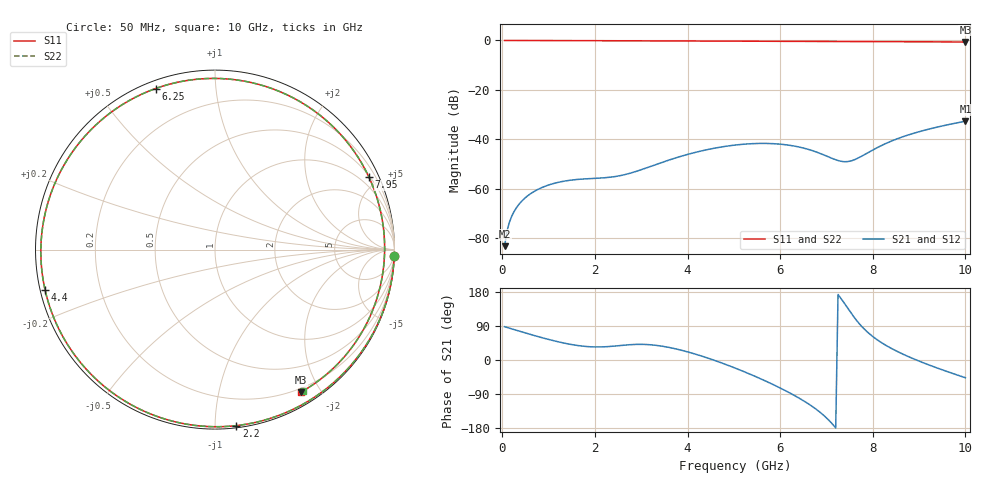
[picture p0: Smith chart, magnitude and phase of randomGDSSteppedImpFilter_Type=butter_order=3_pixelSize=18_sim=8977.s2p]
! freq	dB(S11)	phase(S11)	dB(S12)	phase(S12)
!  dB(S21)	phase(S21)	dB(S22)	phase(S22)
!S-par simulation data
#  GHz  S  DB  R 50
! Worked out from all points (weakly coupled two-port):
!   200 points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, 50 MHz to 10 GHz, reference 50 ohm
!   highest |S21| = -32.67 dB at 10 GHz (marker M1); lowest = -83.2 dB at 50 MHz (marker M2)
!   lowest |S11| = -0.7 dB at 10 GHz (marker M3), VSWR 26.54, Z = 7.76 - j88.1 ohm
!   |S11| at or under -10 dB: nowhere
!   |S22| runs from -0.7 to 0.0 dB; largest |S21 - S12| = 0
!   S11 on the Smith chart (normalised r, x): 50 MHz: 1, -58; 2.2 GHz: 0.01, -1.13; 4.4 GHz: 0.01, -0.12; 6.25 GHz: 0.03, +0.70; 7.95 GHz: 0.55, +4.40; 10 GHz: 0.16, -1.76
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0.05  -0.00 -2.0  -83.22 87.9  -83.22 87.9  -0.00 -2.0
0.15  -0.01 -5.8  -73.74 84.1  -73.74 84.1  -0.01 -5.8
0.25  -0.01 -9.6  -69.36 80.4  -69.36 80.4  -0.01 -9.6
0.55  -0.02 -21.1  -62.81 69.5  -62.81 69.5  -0.02 -21.1
1.05  -0.05 -40.1  -58.17 52.7  -58.17 52.7  -0.05 -40.1
1.75  -0.08 -66.4  -56.04 36.4  -56.04 36.4  -0.08 -66.4
2.2  -0.11 -83.1  -55.56 34.8  -55.56 34.8  -0.11 -83.1
2.8  -0.14 -105.4  -53.49 40.7  -53.49 40.7  -0.14 -105.3
3.4  -0.17 -127.8  -49.65 37.4  -49.65 37.4  -0.17 -127.7
3.9  -0.20 -146.9  -46.63 24.8  -46.63 24.8  -0.20 -146.8
4.4  -0.24 -166.7  -44.26 6.6  -44.26 6.6  -0.24 -166.6
5.05  -0.29 166.1  -42.27 -22.3  -42.27 -22.3  -0.29 166.3
5.65  -0.34 139.1  -41.65 -53.5  -41.65 -53.5  -0.34 139.4
6.25  -0.39 110.3  -42.54 -89.7  -42.54 -89.7  -0.38 110.6
6.7  -0.41 87.7  -44.60 -123.1  -44.60 -123.1  -0.41 88.2
7.05  -0.43 70.0  -47.15 -158.7  -47.15 -158.7  -0.43 70.5
7.4  -0.44 52.3  -49.05 147.2  -49.05 147.2  -0.44 52.8
7.95  -0.46 25.2  -44.82 66.8  -44.82 66.8  -0.46 25.8
8.35  -0.48 6.6  -41.12 34.0  -41.12 34.0  -0.48 7.2
9.05  -0.53 -23.5  -36.65 -5.4  -36.65 -5.4  -0.53 -22.8
9.55  -0.59 -42.8  -34.38 -28.1  -34.38 -28.1  -0.59 -42.1
10  -0.65 -58.9  -32.67 -46.8  -32.67 -46.8  -0.65 -58.2
